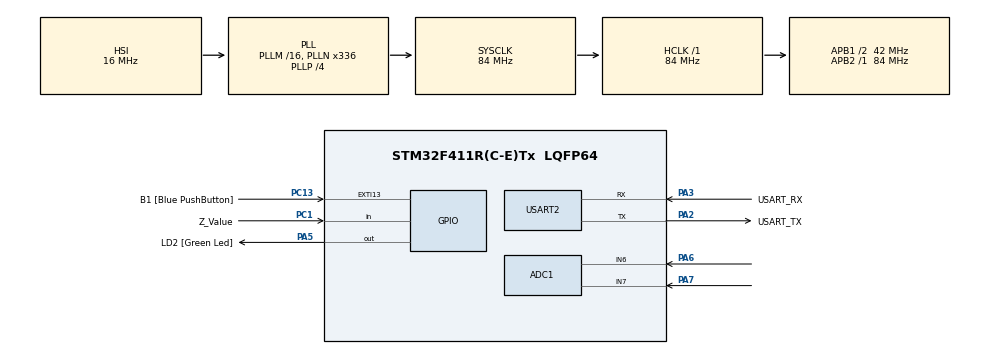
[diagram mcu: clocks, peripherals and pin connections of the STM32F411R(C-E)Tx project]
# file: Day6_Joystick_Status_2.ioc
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ADC1.Channel-0\#ChannelRegularConversion=ADC_CHANNEL_6
ADC1.Channel-1\#ChannelRegularConversion=ADC_CHANNEL_7
ADC1.NbrOfConversion=2
ADC1.NbrOfConversionFlag=1
ADC1.Rank-0\#ChannelRegularConversion=1
ADC1.Rank-1\#ChannelRegularConversion=2
ADC1.SamplingTime-0\#ChannelRegularConversion=ADC_SAMPLETIME_84CYCLES
ADC1.SamplingTime-1\#ChannelRegularConversion=ADC_SAMPLETIME_84CYCLES
ADC1.ScanConvMode=ENABLE
ADC1.master=1
Mcu.Family=STM32F4
Mcu.Name=STM32F411R(C-E)Tx
Mcu.Package=LQFP64
NVIC.ADC_IRQn=true\:0\:0\:false\:false\:true\:true\:true\:true
NVIC.PriorityGroup=NVIC_PRIORITYGROUP_0
PA13.GPIO_Label=TMS
PA13.Mode=Serial_Wire
PA13.Signal=SYS_JTMS-SWDIO
PA14.GPIO_Label=TCK
PA14.Mode=Serial_Wire
PA14.Signal=SYS_JTCK-SWCLK
PA2.GPIO_Label=USART_TX
PA2.Mode=Asynchronous
PA2.Signal=USART2_TX
PA3.GPIO_Label=USART_RX
PA3.Mode=Asynchronous
PA3.Signal=USART2_RX
PA5.GPIO_Label=LD2 [Green Led]
PA5.Signal=GPIO_Output
PA6.Signal=ADCx_IN6
PA7.Signal=ADCx_IN7
PB3.GPIO_Label=SWO
PB3.Signal=SYS_JTDO-SWO
PC1.GPIO_Label=Z_Value
PC1.Signal=GPIO_Input
PC13-ANTI_TAMP.GPIO_Label=B1 [Blue PushButton]
PC13-ANTI_TAMP.GPIO_ModeDefaultEXTI=GPIO_MODE_IT_FALLING
PC13-ANTI_TAMP.Signal=GPXTI13
PC14-OSC32_IN.Mode=LSE-External-Oscillator
PC14-OSC32_IN.Signal=RCC_OSC32_IN
PC15-OSC32_OUT.Mode=LSE-External-Oscillator
PC15-OSC32_OUT.Signal=RCC_OSC32_OUT
PH0\ -\ OSC_IN.Mode=HSE-External-Clock-Source
PH0\ -\ OSC_IN.Signal=RCC_OSC_IN
PH1\ -\ OSC_OUT.Mode=HSE-External-Clock-Source
PH1\ -\ OSC_OUT.Signal=RCC_OSC_OUT
ProjectManager.HeapSize=0x200
ProjectManager.StackSize=0x400
ProjectManager.TargetToolchain=STM32CubeIDE
RCC.48MHZClocksFreq_Value=84000000
RCC.AHBFreq_Value=84000000
RCC.APB1CLKDivider=RCC_HCLK_DIV2
RCC.APB1Freq_Value=42000000
RCC.APB1TimFreq_Value=84000000
RCC.APB2Freq_Value=84000000
RCC.APB2TimFreq_Value=84000000
RCC.CortexFreq_Value=84000000
RCC.FLatency-AdvancedSettings=FLASH_LATENCY_2
RCC.HCLKFreq_Value=84000000
RCC.HSE_VALUE=8000000
RCC.HSI_VALUE=16000000
RCC.PLLN=336
RCC.PLLP=RCC_PLLP_DIV4
RCC.SYSCLKFreq_VALUE=84000000
RCC.SYSCLKSource=RCC_SYSCLKSOURCE_PLLCLK
RCC.VCOOutputFreq_Value=336000000
SH.ADCx_IN6.0=ADC1_IN6,IN6
SH.ADCx_IN7.0=ADC1_IN7,IN7
USART2.VirtualMode=VM_ASYNC
board=NUCLEO-F411RE

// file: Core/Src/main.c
/* USER CODE BEGIN Header */
/**
  ******************************************************************************
  * @file           : main.c
  * @brief          : Main program body
  ******************************************************************************
  * @attention
  *
  * Copyright (c) 2023 STMicroelectronics.
  * All rights reserved.
  *
  * This software is licensed under terms that can be found in the LICENSE file
  * in the root directory of this software component.
  * If no LICENSE file comes with this software, it is provided AS-IS.
  *
  ******************************************************************************
  */
/* USER CODE END Header */
#include "main.h"

ADC_HandleTypeDef hadc1;

UART_HandleTypeDef huart2;

/* USER CODE BEGIN PV */
int xVal, yVal, zVal;
int cnt;
char* dir[] = {"Front", "Back", "Right", "Left", "Front-Right", "Front-Left", "Back-Right", "Back-Left", "Middle"};
char* click[] = {"Push", "    "};
/* USER CODE END PV */

void SystemClock_Config(void);
static void MX_GPIO_Init(void);
static void MX_USART2_UART_Init(void);
static void MX_ADC1_Init(void);

/* USER CODE BEGIN 0 */
int __io_putchar(int ch)
{
	HAL_UART_Transmit(&huart2, &ch, 1, 100);
}

// ISR function
void HAL_ADC_ConvCpltCallback(ADC_HandleTypeDef* hadc)
{
	switch(cnt)
	{
		case 1 :
			HAL_ADC_PollForConversion(&hadc1, 100);
			xVal = HAL_ADC_GetValue(&hadc1)-2048; // Read x_Value
			break;
		case 2 :
			HAL_ADC_PollForConversion(&hadc1, 100);
			yVal = HAL_ADC_GetValue(&hadc1)-2048; // Read y_Value
			break;
		case 3 :
			zVal = HAL_GPIO_ReadPin(Z_Value_GPIO_Port, Z_Value_Pin); // Read z_Value
			break;
		default :
			cnt = 0;
			break;
	}
	cnt++;
	HAL_ADC_Start_IT(&hadc1); // Restart(1 time interrupt enable command)
}
/* USER CODE END 0 */

int main(void)
{

  /* MCU Configuration--------------------------------------------------------*/

  /* Reset of all peripherals, Initializes the Flash interface and the Systick. */
  HAL_Init();

  /* USER CODE BEGIN Init */
  int x = 0;
  int y = 0;
  int i = 0;
  int j = 0;
  /* USER CODE END Init */

  /* Configure the system clock */
  SystemClock_Config();

  /* Initialize all configured peripherals */
  MX_GPIO_Init();
  MX_USART2_UART_Init();
  MX_ADC1_Init();

  HAL_ADC_Start_IT(&hadc1); // ISR Start

  /* Infinite loop */
  while (1)
  {

    /* USER CODE BEGIN 3 */
	  if(xVal > 30) x = 2;
	  else if((xVal > -70) && (xVal < 30))  x = 1;
	  else x = 0;

	  if(yVal > 30) y = 2;
	  else if((yVal > -70) && (yVal < 30))  y = 1;
	  else y = 0;

	  if((~zVal+2) == 1) i = 0;
	  else i = 1;

		  switch(y)
		  {
		  	  case 0 :
		  		  if(x == 0) j = 8;
				  else if (x == 1) j = 1;
				  else j = 7;
				  break;
		  	  case 1 :
		  		  if(x == 0) j = 3;
				  else if (x == 1) j = 9;
				  else j = 2;
				  break;
		  	  case 2 :
		  		  if(x == 0) j = 5;
				  else if (x == 1) j = 0;
				  else j = 4;
		  }

	  printf("(x, y) = (%d, %d)  Direction : %s <%s>\r\n", xVal, yVal, dir[j], click[i]);
	  HAL_Delay(100);
  }
  /* USER CODE END 3 */
}

void SystemClock_Config(void)
{
  RCC_OscInitTypeDef RCC_OscInitStruct = {0};
  RCC_ClkInitTypeDef RCC_ClkInitStruct = {0};

  /** Configure the main internal regulator output voltage
  */
  __HAL_RCC_PWR_CLK_ENABLE();
  __HAL_PWR_VOLTAGESCALING_CONFIG(PWR_REGULATOR_VOLTAGE_SCALE1);

  /** Initializes the RCC Oscillators according to the specified parameters
  * in the RCC_OscInitTypeDef structure.
  */
  RCC_OscInitStruct.OscillatorType = RCC_OSCILLATORTYPE_HSI;
  RCC_OscInitStruct.HSIState = RCC_HSI_ON;
  RCC_OscInitStruct.HSICalibrationValue = RCC_HSICALIBRATION_DEFAULT;
  RCC_OscInitStruct.PLL.PLLState = RCC_PLL_ON;
  RCC_OscInitStruct.PLL.PLLSource = RCC_PLLSOURCE_HSI;
  RCC_OscInitStruct.PLL.PLLM = 16;
  RCC_OscInitStruct.PLL.PLLN = 336;
  RCC_OscInitStruct.PLL.PLLP = RCC_PLLP_DIV4;
  RCC_OscInitStruct.PLL.PLLQ = 4;
  if (HAL_RCC_OscConfig(&RCC_OscInitStruct) != HAL_OK)
  {
    Error_Handler();
  }

  /** Initializes the CPU, AHB and APB buses clocks
  */
  RCC_ClkInitStruct.ClockType = RCC_CLOCKTYPE_HCLK|RCC_CLOCKTYPE_SYSCLK
                              |RCC_CLOCKTYPE_PCLK1|RCC_CLOCKTYPE_PCLK2;
  RCC_ClkInitStruct.SYSCLKSource = RCC_SYSCLKSOURCE_PLLCLK;
  RCC_ClkInitStruct.AHBCLKDivider = RCC_SYSCLK_DIV1;
  RCC_ClkInitStruct.APB1CLKDivider = RCC_HCLK_DIV2;
  RCC_ClkInitStruct.APB2CLKDivider = RCC_HCLK_DIV1;

  if (HAL_RCC_ClockConfig(&RCC_ClkInitStruct, FLASH_LATENCY_2) != HAL_OK)
  {
    Error_Handler();
  }
}

static void MX_ADC1_Init(void)
{

  ADC_ChannelConfTypeDef sConfig = {0};

  /** Configure the global features of the ADC (Clock, Resolution, Data Alignment and number of conversion)
  */
  hadc1.Instance = ADC1;
  hadc1.Init.ClockPrescaler = ADC_CLOCK_SYNC_PCLK_DIV4;
  hadc1.Init.Resolution = ADC_RESOLUTION_12B;
  hadc1.Init.ScanConvMode = ENABLE;
  hadc1.Init.ContinuousConvMode = DISABLE;
  hadc1.Init.DiscontinuousConvMode = DISABLE;
  hadc1.Init.ExternalTrigConvEdge = ADC_EXTERNALTRIGCONVEDGE_NONE;
  hadc1.Init.ExternalTrigConv = ADC_SOFTWARE_START;
  hadc1.Init.DataAlign = ADC_DATAALIGN_RIGHT;
  hadc1.Init.NbrOfConversion = 2;
  hadc1.Init.DMAContinuousRequests = DISABLE;
  hadc1.Init.EOCSelection = ADC_EOC_SINGLE_CONV;
  if (HAL_ADC_Init(&hadc1) != HAL_OK)
  {
    Error_Handler();
  }

  /** Configure for the selected ADC regular channel its corresponding rank in the sequencer and its sample time.
  */
  sConfig.Channel = ADC_CHANNEL_6;
  sConfig.Rank = 1;
  sConfig.SamplingTime = ADC_SAMPLETIME_84CYCLES;
  if (HAL_ADC_ConfigChannel(&hadc1, &sConfig) != HAL_OK)
  {
    Error_Handler();
  }

  /** Configure for the selected ADC regular channel its corresponding rank in the sequencer and its sample time.
  */
  sConfig.Channel = ADC_CHANNEL_7;
  sConfig.Rank = 2;
  if (HAL_ADC_ConfigChannel(&hadc1, &sConfig) != HAL_OK)
  {
    Error_Handler();
  }

}

static void MX_USART2_UART_Init(void)
{

  huart2.Instance = USART2;
  huart2.Init.BaudRate = 115200;
  huart2.Init.WordLength = UART_WORDLENGTH_8B;
  huart2.Init.StopBits = UART_STOPBITS_1;
  huart2.Init.Parity = UART_PARITY_NONE;
  huart2.Init.Mode = UART_MODE_TX_RX;
  huart2.Init.HwFlowCtl = UART_HWCONTROL_NONE;
  huart2.Init.OverSampling = UART_OVERSAMPLING_16;
  if (HAL_UART_Init(&huart2) != HAL_OK)
  {
    Error_Handler();
  }

}

static void MX_GPIO_Init(void)
{
  GPIO_InitTypeDef GPIO_InitStruct = {0};

  /* GPIO Ports Clock Enable */
  __HAL_RCC_GPIOC_CLK_ENABLE();
  __HAL_RCC_GPIOH_CLK_ENABLE();
  __HAL_RCC_GPIOA_CLK_ENABLE();
  __HAL_RCC_GPIOB_CLK_ENABLE();

  /*Configure GPIO pin Output Level */
  HAL_GPIO_WritePin(LD2_GPIO_Port, LD2_Pin, GPIO_PIN_RESET);

  /*Configure GPIO pin : B1_Pin */
  GPIO_InitStruct.Pin = B1_Pin;
  GPIO_InitStruct.Mode = GPIO_MODE_IT_FALLING;
  GPIO_InitStruct.Pull = GPIO_NOPULL;
  HAL_GPIO_Init(B1_GPIO_Port, &GPIO_InitStruct);

  /*Configure GPIO pin : Z_Value_Pin */
  GPIO_InitStruct.Pin = Z_Value_Pin;
  GPIO_InitStruct.Mode = GPIO_MODE_INPUT;
  GPIO_InitStruct.Pull = GPIO_PULLUP;
  HAL_GPIO_Init(Z_Value_GPIO_Port, &GPIO_InitStruct);

  /*Configure GPIO pin : LD2_Pin */
  GPIO_InitStruct.Pin = LD2_Pin;
  GPIO_InitStruct.Mode = GPIO_MODE_OUTPUT_PP;
  GPIO_InitStruct.Pull = GPIO_NOPULL;
  GPIO_InitStruct.Speed = GPIO_SPEED_FREQ_LOW;
  HAL_GPIO_Init(LD2_GPIO_Port, &GPIO_InitStruct);

}

void Error_Handler(void)
{
  __disable_irq();
  while (1)
  {
  }
}
